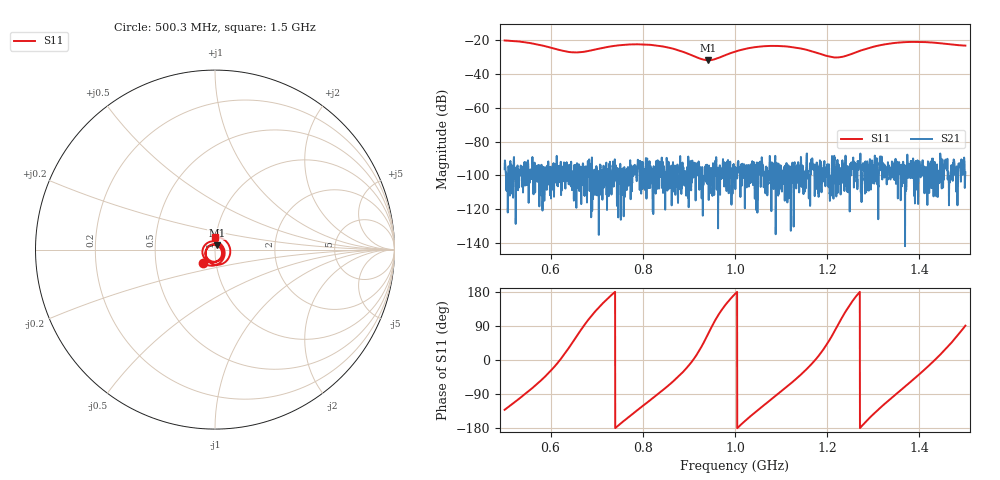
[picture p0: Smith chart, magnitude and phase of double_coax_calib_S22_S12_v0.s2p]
# HZ S RI R 50
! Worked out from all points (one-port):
!   3200 points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, 500.3 MHz to 1.5 GHz, reference 50 ohm
!   lowest |S11| = -31.8 dB at 940.9 MHz (marker M1), VSWR 1.05, Z = 51 + j2.41 ohm
!   |S11| at or under -10 dB: start of sweep to end of sweep
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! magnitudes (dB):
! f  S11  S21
! 500.3 MHz  -20.1  -96.4
! 559.7 MHz  -21.8  -100.9
! 639.1 MHz  -26.9  -99.1
! 667.2 MHz  -27.0  -101.3
! 759.4 MHz  -22.7  -101.0
! 798.4 MHz  -22.4  -95.3
! 833.8 MHz  -23.2  -98.0
! 871.9 MHz  -25.4  -106.8
! 924.4 MHz  -30.9  -99.7
! 940.9 MHz  -31.8  -102.7
! 957.5 MHz  -31.1  -91.4
! 1 GHz  -26.7  -95.0
! 1.042 GHz  -24.1  -97.7
! 1.082 GHz  -23.3  -96.5
! 1.125 GHz  -24.1  -95.4
! 1.167 GHz  -26.5  -93.7
! 1.206 GHz  -29.7  -115.0
! 1.227 GHz  -30.1  -102.4
! 1.292 GHz  -24.4  -91.4
! 1.333 GHz  -22.0  -95.9
! 1.401 GHz  -21.0  -94.4
! 1.5 GHz  -23.1  -98.3
